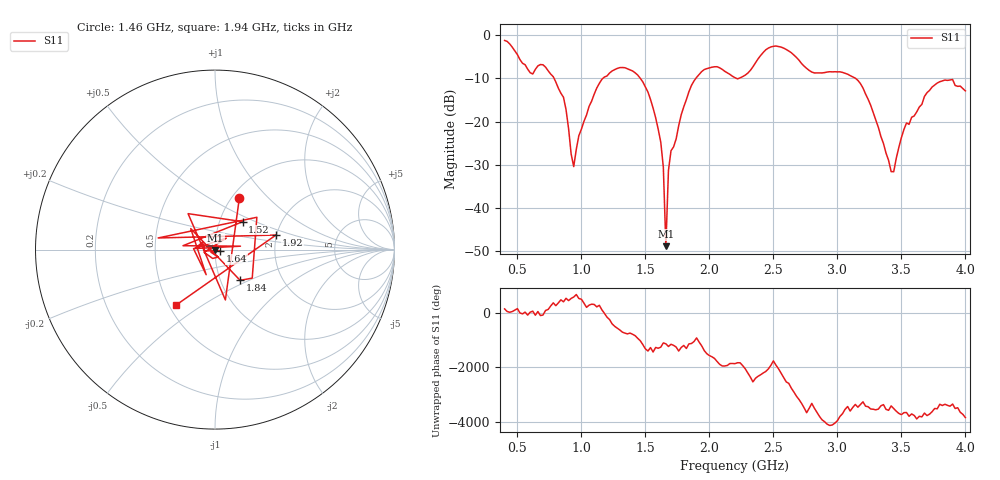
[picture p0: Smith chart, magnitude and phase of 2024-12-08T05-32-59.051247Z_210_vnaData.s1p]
!Created with skrf (http://scikit-rf.org).
# Hz S RI R 50.0
!freq ReS11 ImS11
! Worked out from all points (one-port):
!   181 points, 400 MHz to 4 GHz, reference 50 ohm
!   lowest |S11| = -48.8 dB at 1.66 GHz (marker M1), VSWR 1.01, Z = 50.2 - j0.277 ohm
!   |S11| at or under -10 dB: 785.7 MHz to 1.169 GHz (383.6 MHz wide, 39.2 % of centre); 1.459 GHz to 1.895 GHz (435.7 MHz wide, 26 % of centre); 3.141 GHz to end of sweep (the widest 3 of 4)
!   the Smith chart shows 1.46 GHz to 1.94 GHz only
!   S11 on the Smith chart (normalised r, x): 1.46 GHz: 1.09, +0.69; 1.52 GHz: 1.29, +0.42; 1.64 GHz: 1.06, -0.02; 1.84 GHz: 1.24, -0.44; 1.92 GHz: 1.98, +0.37; 1.94 GHz: 0.54, -0.39
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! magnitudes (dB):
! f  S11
! 400 MHz  -1.3
! 600 MHz  -8.7
! 720 MHz  -7.4
! 860 MHz  -14.4
! 940 MHz  -30.4
! 980 MHz  -23.3
! 1.12 GHz  -12.3
! 1.3 GHz  -7.6
! 1.46 GHz  -10.0
! 1.52 GHz  -13.2
! 1.6 GHz  -21.8
! 1.64 GHz  -30.5
! 1.66 GHz  -48.8
! 1.68 GHz  -31.3
! 1.76 GHz  -21.0
! 1.84 GHz  -13.1
! 1.92 GHz  -9.1
! 1.94 GHz  -8.5
! 2.2 GHz  -9.9
! 2.48 GHz  -2.8
! 2.66 GHz  -4.6
! 2.8 GHz  -8.6
! 3.1 GHz  -9.4
! 3.24 GHz  -14.9
! 3.42 GHz  -31.6
! 3.56 GHz  -20.7
! 3.78 GHz  -11.1
! 4 GHz  -12.9
